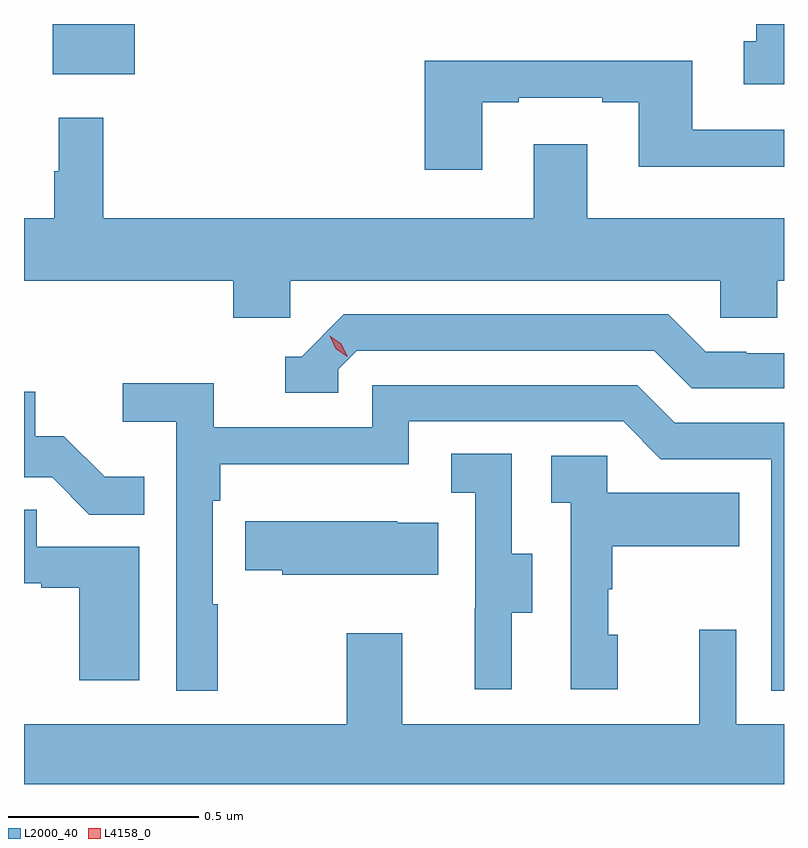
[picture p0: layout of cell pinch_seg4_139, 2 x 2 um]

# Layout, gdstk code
import gdstk
lib = gdstk.Library(unit=1e-6, precision=1e-09)
def R(c, l, rs):  # rectangles x0, y0, x1, y1
    for r in rs: c.add(gdstk.rectangle(r[:2], r[2:], *l))
def P(c, l, *ps):  # polygons
    for p in ps: c.add(gdstk.Polygon(p, *l))
L2000_40 = (2000, 40)
L4158_0 = (4158, 0)

pinch_seg4_139 = lib.new_cell('pinch_seg4_139')
R(pinch_seg4_139, L2000_40, [(1019.753,802.691,1019.968,802.823)])
P(pinch_seg4_139, L2000_40, [(1021.677,802.823),(1021.604,802.823),(1021.604,802.778),(1021.571,802.778),(1021.571,802.665),(1021.677,802.665)],
  [(1020.883,802.617),(1020.979,802.617),(1020.979,802.629),(1021.199,802.629),(1021.199,802.617),(1021.295,802.617),(1021.295,802.448),(1021.677,802.448),(1021.677,802.545),(1021.435,802.545),(1021.435,802.726),(1020.731,802.726),(1020.731,802.44),(1020.883,802.44)],
  [(1020.378,802.148),(1021.509,802.148),(1021.509,802.05),(1021.659,802.05),(1021.659,802.148),(1021.677,802.148),(1021.677,802.312),(1021.159,802.312),(1021.159,802.507),(1021.019,802.507),(1021.019,802.312),(1019.885,802.312),(1019.885,802.576),(1019.768,802.576),(1019.768,802.436),(1019.757,802.436),(1019.757,802.312),(1019.677,802.312),(1019.677,802.148),(1020.227,802.148),(1020.227,802.05),(1020.378,802.05)],
  [(1020.504,801.915),(1020.552,801.963),(1021.335,801.963),(1021.434,801.864),(1021.677,801.864),(1021.677,801.957),(1021.578,801.957),(1021.578,801.96),(1021.471,801.96),(1021.372,802.059),(1020.519,802.059),(1020.408,801.948),(1020.365,801.948),(1020.365,801.852),(1020.504,801.852)],
  [(1020.187,801.296),(1020.174,801.296),(1020.174,801.569),(1020.194,801.569),(1020.194,801.665),(1020.69,801.665),(1020.69,801.777),(1021.254,801.777),(1021.353,801.678),(1021.644,801.678),(1021.644,801.069),(1021.677,801.069),(1021.677,801.774),(1021.39,801.774),(1021.291,801.873),(1020.594,801.873),(1020.594,801.762),(1020.176,801.762),(1020.176,801.878),(1019.937,801.878),(1019.937,801.776),(1020.078,801.776),(1020.078,801.069),(1020.187,801.069)],
  [(1019.993,801.631),(1019.889,801.631),(1019.782,801.738),(1019.706,801.738),(1019.706,801.855),(1019.677,801.855),(1019.677,801.63),(1019.751,801.63),(1019.849,801.532),(1019.993,801.532)],
  [(1020.961,801.274),(1021.015,801.274),(1021.015,801.429),(1020.96,801.429),(1020.96,801.692),(1020.801,801.692),(1020.801,801.589),(1020.864,801.589),(1020.864,801.285),(1020.863,801.285),(1020.863,801.072),(1020.961,801.072)],
  [(1021.24,801.216),(1021.215,801.216),(1021.215,801.335),(1021.225,801.335),(1021.225,801.449),(1021.559,801.449),(1021.559,801.589),(1021.212,801.589),(1021.212,801.687),(1021.065,801.687),(1021.065,801.563),(1021.116,801.563),(1021.116,801.072),(1021.24,801.072)],
  [(1019.98,801.447),(1019.711,801.447),(1019.711,801.545),(1019.677,801.545),(1019.677,801.351),(1019.723,801.351),(1019.723,801.339),(1019.822,801.339),(1019.822,801.096),(1019.98,801.096)],
  [(1020.767,801.511),(1020.659,801.511),(1020.659,801.514),(1020.259,801.514),(1020.259,801.385),(1020.357,801.385),(1020.357,801.374),(1020.767,801.374)],
  [(1021.677,800.98),(1021.551,800.98),(1021.551,801.229),(1021.454,801.229),(1021.454,800.98),(1020.673,800.98),(1020.673,801.22),(1020.526,801.22),(1020.526,800.98),(1019.677,800.98),(1019.677,800.823),(1021.677,800.823)])
P(pinch_seg4_139, L4158_0, [(1020.527,801.948),(1020.497,801.969),(1020.482,802.002),(1020.482,802.002),(1020.482,802.002),(1020.512,801.982),(1020.528,801.949),(1020.528,801.948)])

lib.write_gds('pinch_seg4_139.gds')
